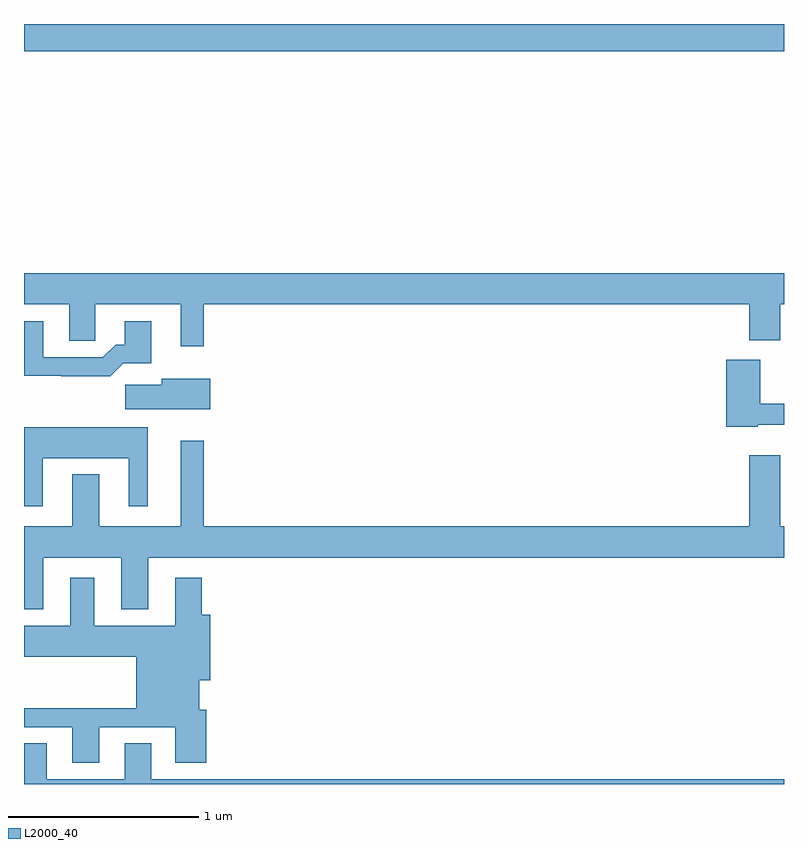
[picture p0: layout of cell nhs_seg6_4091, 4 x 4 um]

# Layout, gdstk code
import gdstk
lib = gdstk.Library(unit=1e-6, precision=1e-09)
def R(c, l, rs):  # rectangles x0, y0, x1, y1
    for r in rs: c.add(gdstk.rectangle(r[:2], r[2:], *l))
def P(c, l, *ps):  # polygons
    for p in ps: c.add(gdstk.Polygon(p, *l))
L2000_40 = (2000, 40)

nhs_seg6_4091 = lib.new_cell('nhs_seg6_4091')
R(nhs_seg6_4091, L2000_40, [(353,927.356,357,927.5)])
P(nhs_seg6_4091, L2000_40, [(353.947,926.024),(356.816,926.024),(356.816,925.836),(356.98,925.836),(356.98,926.024),(357,926.024),(357,926.188),(353,926.188),(353,926.024),(353.237,926.024),(353.237,925.834),(353.376,925.834),(353.376,926.024),(353.825,926.024),(353.825,925.803),(353.947,925.803)],
  [(353.522,925.715),(353.671,925.715),(353.671,925.936),(353.531,925.936),(353.531,925.813),(353.482,925.813),(353.415,925.746),(353.101,925.746),(353.101,925.936),(353,925.936),(353,925.648),(353.197,925.648),(353.197,925.646),(353.453,925.646)],
  [(356.862,925.391),(357,925.391),(357,925.501),(356.874,925.501),(356.874,925.732),(356.696,925.732),(356.696,925.379),(356.862,925.379)],
  [(353.98,925.633),(353.726,925.633),(353.726,925.601),(353.532,925.601),(353.532,925.472),(353.98,925.472)],
  [(353.098,925.214),(353.552,925.214),(353.552,924.963),(353.65,924.963),(353.65,925.378),(353,925.378),(353,924.963),(353.098,924.963)],
  [(353.101,924.692),(353.513,924.692),(353.513,924.419),(353.653,924.419),(353.653,924.692),(357,924.692),(357,924.856),(356.98,924.856),(356.98,925.231),(356.816,925.231),(356.816,924.856),(353.947,924.856),(353.947,925.306),(353.825,925.306),(353.825,924.856),(353.395,924.856),(353.395,925.129),(353.255,925.129),(353.255,924.856),(353,924.856),(353,924.419),(353.101,924.419)],
  [(353.395,923.799),(353.795,923.799),(353.795,923.613),(353.96,923.613),(353.96,923.892),(353.923,923.892),(353.923,924.047),(353.98,924.047),(353.98,924.391),(353.936,924.391),(353.936,924.586),(353.795,924.586),(353.795,924.334),(353.371,924.334),(353.371,924.586),(353.243,924.586),(353.243,924.334),(353,924.334),(353,924.17),(353.591,924.17),(353.591,923.9),(353,923.9),(353,923.799),(353.255,923.799),(353.255,923.613),(353.395,923.613)],
  [(357,923.524),(353.671,923.524),(353.671,923.714),(353.531,923.714),(353.531,923.524),(353.119,923.524),(353.119,923.714),(353,923.714),(353,923.5),(357,923.5)])

lib.write_gds('nhs_seg6_4091.gds')
